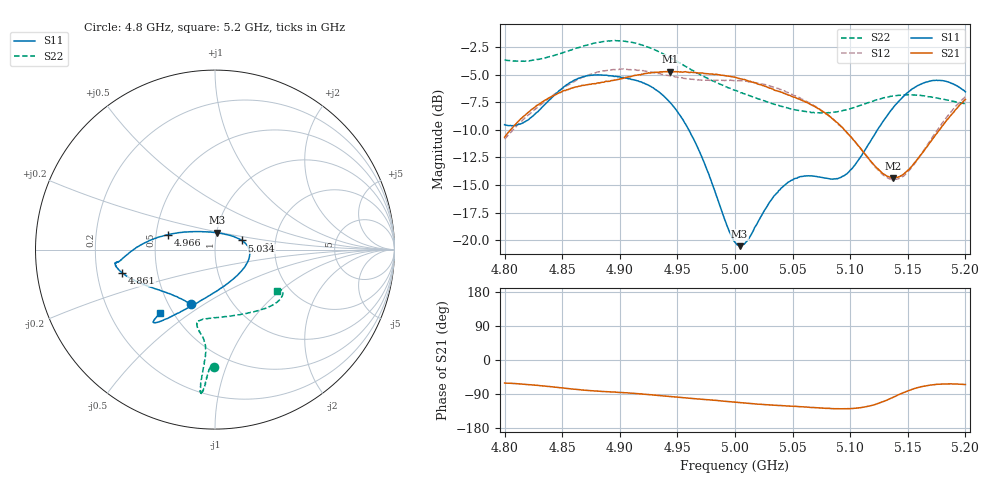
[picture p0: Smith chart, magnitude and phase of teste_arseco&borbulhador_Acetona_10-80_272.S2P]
! Network Analyzer HP8722D
! Hewlett-Packard
! Data name: Linha & Wilkinson
! Saver's name: Rodrigo Anjos
! Comments: Teste da utilização de aquisição
! continua pelo VNA HP8722D
! Time and date: 17/4/2025 16:37
!  Frequency  S11  S21  S12  S22
# HZ  S  MA R 50
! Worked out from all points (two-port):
!   401 points, 4.8 GHz to 5.2 GHz, reference 50 ohm
!   highest |S21| = -4.70 dB at 4.944 GHz (marker M1); lowest = -14.4 dB at 5.137 GHz (marker M2)
!   |S21| within 3 dB of the highest: 4.829 GHz to 5.066 GHz (236.4 MHz wide, 4.78 % of centre); 5.19543 GHz to end of sweep
!   lowest |S11| = -20.5 dB at 5.004 GHz (marker M3), VSWR 1.21, Z = 50 + j9.44 ohm
!   |S11| at or under -10 dB: 4.96 GHz to 5.124 GHz (163.7 MHz wide, 3.25 % of centre)
!   |S22| runs from -8.5 to -1.9 dB; largest |S21 - S12| = 0.87
!   S11 on the Smith chart (normalised r, x): 4.8 GHz: 0.64, -0.44; 4.861 GHz: 0.31, -0.11; 4.966 GHz: 0.58, +0.10; 5.034 GHz: 1.35, +0.14; 5.2 GHz: 0.42, -0.39
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4.8e9  0.3342 -113.8  0.2932 -60.9  0.2874 -175.1  0.6557 -90.2
4.819e9  0.3482 -133.9  0.3742 -64.4  0.3623 -173.9  0.6505 -91.8
4.861e9  0.5334 -165.9  0.4937 -77.2  0.5265 -177.2  0.738 -94.1
4.867e9  0.5486 -168.4  0.5037 -79.2  0.5462 -178.2  0.7564 -94.3
4.9e9  0.5504 -172.6  0.5382 -85.6  0.5974 175.3  0.802 -95.7
4.934e9  0.4705 -178.6  0.5775 -93.7  0.5709 171.7  0.7146 -95.9
4.944e9  0.4197 176.9  0.5822 -96.6  0.5557 171.7  0.6722 -95.7
4.966e9  0.2743 162.3  0.5752 -102.4  0.5343 173.4  0.5773 -95.2
5e9  0.0978 98.9  0.5487 -111.4  0.5305 176.0  0.4782 -99.3
5.004e9  0.09391 84.4  0.5413 -112.5  0.5286 175.8  0.47 -100.1
5.012e9  0.1016 57.6  0.5257 -114.4  0.5222 175.6  0.4538 -101.9
5.034e9  0.159 18.7  0.4794 -119.4  0.4937 174.7  0.4137 -103.4
5.05e9  0.1873 2.5  0.4476 -122.1  0.4573 173.8  0.3943 -99.4
5.067e9  0.1956 -15.7  0.4094 -125.1  0.4137 173.4  0.3792 -90.3
5.085e9  0.1892 -44.0  0.3546 -128.5  0.3531 173.5  0.381 -76.8
5.097e9  0.1997 -68.3  0.308 -128.6  0.3086 174.8  0.3908 -66.9
5.122e9  0.3064 -107.4  0.2157 -117.0  0.2137 -171.6  0.4321 -49.2
5.134e9  0.3788 -117.3  0.1936 -102.9  0.1897 -155.9  0.4477 -43.0
5.137e9  0.397 -119.1  0.1914 -98.8  0.1884 -151.0  0.4509 -41.7
5.15e9  0.4681 -124.8  0.2074 -81.5  0.2041 -131.3  0.4561 -36.8
5.17e9  0.528 -129.4  0.2801 -65.9  0.2854 -112.2  0.4467 -32.2
5.2e9  0.471 -131.0  0.4349 -64.7  0.4478 -106.8  0.4153 -33.6
